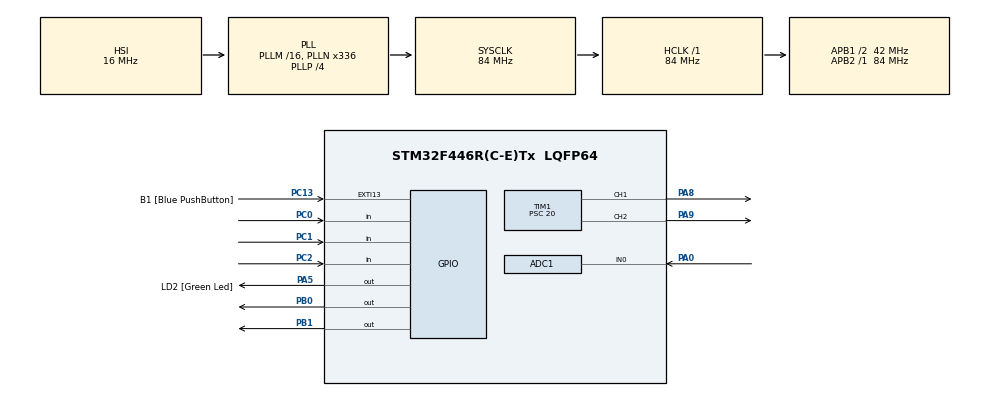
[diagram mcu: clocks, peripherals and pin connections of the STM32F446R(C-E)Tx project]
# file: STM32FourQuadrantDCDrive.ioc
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ADC1.Channel-0\#ChannelRegularConversion=ADC_CHANNEL_0
ADC1.ContinuousConvMode=ENABLE
ADC1.NbrOfConversionFlag=1
ADC1.Rank-0\#ChannelRegularConversion=1
ADC1.SamplingTime-0\#ChannelRegularConversion=ADC_SAMPLETIME_3CYCLES
ADC1.master=1
Mcu.Family=STM32F4
Mcu.Name=STM32F446R(C-E)Tx
Mcu.Package=LQFP64
NVIC.PriorityGroup=NVIC_PRIORITYGROUP_0
PA0-WKUP.Signal=ADCx_IN0
PA13.GPIO_Label=TMS
PA13.Signal=SYS_JTMS-SWDIO
PA14.GPIO_Label=TCK
PA14.Signal=SYS_JTCK-SWCLK
PA2.GPIO_Label=USART_TX
PA2.Signal=USART2_TX
PA3.GPIO_Label=USART_RX
PA3.Signal=USART2_RX
PA5.GPIO_Label=LD2 [Green Led]
PA5.Signal=GPIO_Output
PA8.Signal=S_TIM1_CH1
PA9.Signal=S_TIM1_CH2
PB0.PinState=GPIO_PIN_SET
PB0.Signal=GPIO_Output
PB1.PinState=GPIO_PIN_SET
PB1.Signal=GPIO_Output
PB3.GPIO_Label=SWO
PB3.Signal=SYS_JTDO-SWO
PC0.GPIO_PuPd=GPIO_PULLUP
PC0.Signal=GPIO_Input
PC1.GPIO_PuPd=GPIO_PULLUP
PC1.Signal=GPIO_Input
PC13.GPIO_Label=B1 [Blue PushButton]
PC13.GPIO_ModeDefaultEXTI=GPIO_MODE_IT_FALLING
PC13.Signal=GPXTI13
PC14-OSC32_IN.Signal=RCC_OSC32_IN
PC15-OSC32_OUT.Signal=RCC_OSC32_OUT
PC2.GPIO_PuPd=GPIO_PULLUP
PC2.Signal=GPIO_Input
PH0-OSC_IN.Signal=RCC_OSC_IN
PH1-OSC_OUT.Signal=RCC_OSC_OUT
ProjectManager.HeapSize=0x200
ProjectManager.StackSize=0x400
ProjectManager.TargetToolchain=STM32CubeIDE
RCC.AHBFreq_Value=84000000
RCC.APB1CLKDivider=RCC_HCLK_DIV2
RCC.APB1Freq_Value=42000000
RCC.APB1TimFreq_Value=84000000
RCC.APB2Freq_Value=84000000
RCC.APB2TimFreq_Value=84000000
RCC.CortexFreq_Value=84000000
RCC.FLatency-AdvancedSettings=FLASH_LATENCY_2
RCC.HCLKFreq_Value=84000000
RCC.HSE_VALUE=8000000
RCC.HSI_VALUE=16000000
RCC.LSE_VALUE=32768
RCC.PLLN=336
RCC.PLLP=RCC_PLLP_DIV4
RCC.SYSCLKFreq_VALUE=84000000
RCC.SYSCLKSource=RCC_SYSCLKSOURCE_PLLCLK
RCC.USBFreq_Value=168000000
RCC.VCOOutputFreq_Value=336000000
SH.ADCx_IN0.0=ADC1_IN0,IN0
SH.S_TIM1_CH1.0=TIM1_CH1,PWM Generation1 CH1
SH.S_TIM1_CH2.0=TIM1_CH2,PWM Generation2 CH2
TIM1.Channel-PWM\ Generation1\ CH1=TIM_CHANNEL_1
TIM1.Channel-PWM\ Generation2\ CH2=TIM_CHANNEL_2
TIM1.Period=4095
TIM1.Prescaler=20
VP_TIM1_VS_ClockSourceINT.Mode=Internal
board=NUCLEO-F446RE

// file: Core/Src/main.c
/* USER CODE BEGIN Header */
/**
 * @file    main.c
 * @brief   Main application for four-quadrant DC motor control
 *
 * This firmware implements:
 *  - Forward and reverse directional control
 *  - Speed control using a potentiometer
 *  - Toggle-based push button operation
 *  - Software dead-time and safety delay for switching protection
 *
 * Target MCU : STM32F446RE
 * Framework  : STM32 HAL
 */
/* USER CODE END Header */

#include "main.h"

/* USER CODE BEGIN Includes */
#include <stdbool.h>
/* USER CODE END Includes */

/* USER CODE BEGIN PTD */
/* Motor operating states */
typedef enum {
    STOP = 0,
    FORWARD,
    REVERSE
} Direction;
/* USER CODE END PTD */

/* USER CODE BEGIN PD */
/* Timing constants for safe motor operation */
#define DEADTIME_US      100
#define SAFETY_DELAY     500
#define DEBOUNCE_DELAY   200
/* USER CODE END PD */

/* Peripheral handles */
ADC_HandleTypeDef hadc1;
TIM_HandleTypeDef htim1;

/* USER CODE BEGIN PV */
/* Runtime state variables */
Direction currentDir = STOP;
bool isRunning = false;

/* Control variables */
uint32_t pwmVal = 0;
uint32_t lastDebounce = 0;
uint32_t filteredADC = 0;
/* USER CODE END PV */

/* Function prototypes */
void SystemClock_Config(void);
static void MX_GPIO_Init(void);
static void MX_ADC1_Init(void);
static void MX_TIM1_Init(void);

/* USER CODE BEGIN PFP */
/* Application-level function prototypes */
void delay_us(uint16_t us);
uint32_t readADC(void);
uint32_t readADC_Averaged(void);
void runForward(uint32_t pwm);
void runReverse(uint32_t pwm);
void stopMotor(void);
void applyBrake(void);
void loop_logic(void);
/* USER CODE END PFP */

/* USER CODE BEGIN 0 */

/**
 * @brief  Generates blocking delay in microseconds using DWT cycle counter
 * @param  us Delay duration in microseconds
 */
void delay_us(uint16_t us)
{
    uint32_t start = DWT->CYCCNT;
    uint32_t ticks = us * (HAL_RCC_GetHCLKFreq() / 1000000U);
    while ((DWT->CYCCNT - start) < ticks)
    {
    }
}

/**
 * @brief  Reads one fresh ADC sample from the potentiometer
 * @retval ADC value in the range 0 to 4095
 */
uint32_t readADC(void)
{
    HAL_ADC_Start(&hadc1);                         // Start fresh conversion
    HAL_ADC_PollForConversion(&hadc1, 10);
    return HAL_ADC_GetValue(&hadc1);              // 12-bit ADC result
}

/**
 * @brief  Averages multiple ADC samples for smoother speed control
 * @retval Averaged ADC value
 */
uint32_t readADC_Averaged(void)
{
    uint32_t sum = 0;

    for (int i = 0; i < 8; i++)
    {
        sum += readADC();
    }

    return (sum / 8);
}

/**
 * @brief  Drives the motor in forward direction
 * @param  pwm PWM duty value (0 to 4095)
 *
 * Switching state:
 *  - INAHI = PWM
 *  - INBHI = LOW
 *  - INALO = LOW
 *  - INBLO = HIGH
 */
void runForward(uint32_t pwm)
{
    if (pwm > 4095) pwm = 4095;

    __HAL_TIM_SET_COMPARE(&htim1, TIM_CHANNEL_2, 0);       // INBHI LOW
    HAL_GPIO_WritePin(GPIOB, GPIO_PIN_0, GPIO_PIN_RESET);  // INALO LOW

    __HAL_TIM_SET_COMPARE(&htim1, TIM_CHANNEL_1, pwm);     // INAHI PWM
    HAL_GPIO_WritePin(GPIOB, GPIO_PIN_1, GPIO_PIN_SET);    // INBLO HIGH
}

/**
 * @brief  Drives the motor in reverse direction
 * @param  pwm PWM duty value (0 to 4095)
 *
 * Switching state:
 *  - INAHI = LOW
 *  - INBHI = PWM
 *  - INALO = HIGH
 *  - INBLO = LOW
 */
void runReverse(uint32_t pwm)
{
    if (pwm > 4095) pwm = 4095;

    __HAL_TIM_SET_COMPARE(&htim1, TIM_CHANNEL_1, 0);       // INAHI LOW
    HAL_GPIO_WritePin(GPIOB, GPIO_PIN_1, GPIO_PIN_RESET);  // INBLO LOW

    __HAL_TIM_SET_COMPARE(&htim1, TIM_CHANNEL_2, pwm);     // INBHI PWM
    HAL_GPIO_WritePin(GPIOB, GPIO_PIN_0, GPIO_PIN_SET);    // INALO HIGH
}

/**
 * @brief  Turns OFF all bridge switches safely
 *
 * Used during:
 *  - Stop condition
 *  - Direction transition
 *  - Brake condition
 */
void stopMotor(void)
{
    __HAL_TIM_SET_COMPARE(&htim1, TIM_CHANNEL_1, 0);
    __HAL_TIM_SET_COMPARE(&htim1, TIM_CHANNEL_2, 0);

    HAL_GPIO_WritePin(GPIOB, GPIO_PIN_0, GPIO_PIN_RESET);
    HAL_GPIO_WritePin(GPIOB, GPIO_PIN_1, GPIO_PIN_RESET);

    delay_us(DEADTIME_US);
}

/**
 * @brief  Applies brake action
 *
 * Current implementation performs coast stop
 * by turning OFF all switches and holding for 500 ms.
 */
void applyBrake(void)
{
    stopMotor();
    HAL_Delay(500);
}

/**
 * @brief  Main application control logic
 *
 * Handles:
 *  - Potentiometer speed acquisition
 *  - Button debounce and toggle logic
 *  - Direction selection
 *  - Brake action
 *  - Motor output update
 */
void loop_logic(void)
{
    /* Read filtered speed reference */
    filteredADC = readADC_Averaged();
    pwmVal = filteredADC;

    /* Forward button toggle */
    if (!HAL_GPIO_ReadPin(GPIOC, GPIO_PIN_0) &&
        (HAL_GetTick() - lastDebounce > DEBOUNCE_DELAY))
    {
        lastDebounce = HAL_GetTick();

        if (currentDir != FORWARD)
        {
            stopMotor();
            HAL_Delay(SAFETY_DELAY);
            currentDir = FORWARD;
            isRunning = true;
        }
        else
        {
            currentDir = STOP;
            isRunning = false;
            stopMotor();
        }
    }

    /* Reverse button toggle */
    if (!HAL_GPIO_ReadPin(GPIOC, GPIO_PIN_1) &&
        (HAL_GetTick() - lastDebounce > DEBOUNCE_DELAY))
    {
        lastDebounce = HAL_GetTick();

        if (currentDir != REVERSE)
        {
            stopMotor();
            HAL_Delay(SAFETY_DELAY);
            currentDir = REVERSE;
            isRunning = true;
        }
        else
        {
            currentDir = STOP;
            isRunning = false;
            stopMotor();
        }
    }

    /* Brake button action */
    if (!HAL_GPIO_ReadPin(GPIOC, GPIO_PIN_2) &&
        (HAL_GetTick() - lastDebounce > DEBOUNCE_DELAY))
    {
        lastDebounce = HAL_GetTick();

        applyBrake();
        currentDir = STOP;
        isRunning = false;
    }

    /* Execute motor control state */
    if (isRunning)
    {
        if (currentDir == FORWARD)
            runForward(pwmVal);
        else if (currentDir == REVERSE)
            runReverse(pwmVal);
    }
    else
    {
        stopMotor();
    }
}

/* USER CODE END 0 */

/**
 * @brief  Main program entry point
 * @retval int
 */
int main(void)
{
    HAL_Init();
    SystemClock_Config();

    MX_GPIO_Init();
    MX_ADC1_Init();
    MX_TIM1_Init();

    /* USER CODE BEGIN 2 */

    /* Start PWM generation on both high-side channels */
    HAL_TIM_PWM_Start(&htim1, TIM_CHANNEL_1);
    HAL_TIM_PWM_Start(&htim1, TIM_CHANNEL_2);

    /* Start ADC peripheral */
    HAL_ADC_Start(&hadc1);

    /* Enable DWT cycle counter for microsecond timing */
    CoreDebug->DEMCR |= CoreDebug_DEMCR_TRCENA_Msk;
    DWT->CYCCNT = 0;
    DWT->CTRL |= DWT_CTRL_CYCCNTENA_Msk;

    /* Ensure safe bridge state at startup */
    stopMotor();

    /* USER CODE END 2 */

    while (1)
    {
        loop_logic();
    }
}

void SystemClock_Config(void)
{
    RCC_OscInitTypeDef RCC_OscInitStruct = {0};
    RCC_ClkInitTypeDef RCC_ClkInitStruct = {0};

    __HAL_RCC_PWR_CLK_ENABLE();
    __HAL_PWR_VOLTAGESCALING_CONFIG(PWR_REGULATOR_VOLTAGE_SCALE3);

    RCC_OscInitStruct.OscillatorType = RCC_OSCILLATORTYPE_HSI;
    RCC_OscInitStruct.HSIState = RCC_HSI_ON;
    RCC_OscInitStruct.HSICalibrationValue = RCC_HSICALIBRATION_DEFAULT;
    RCC_OscInitStruct.PLL.PLLState = RCC_PLL_ON;
    RCC_OscInitStruct.PLL.PLLSource = RCC_PLLSOURCE_HSI;
    RCC_OscInitStruct.PLL.PLLM = 16;
    RCC_OscInitStruct.PLL.PLLN = 336;
    RCC_OscInitStruct.PLL.PLLP = RCC_PLLP_DIV4;
    RCC_OscInitStruct.PLL.PLLQ = 2;
    RCC_OscInitStruct.PLL.PLLR = 2;

    if (HAL_RCC_OscConfig(&RCC_OscInitStruct) != HAL_OK)
    {
        Error_Handler();
    }

    RCC_ClkInitStruct.ClockType = RCC_CLOCKTYPE_HCLK | RCC_CLOCKTYPE_SYSCLK
                                | RCC_CLOCKTYPE_PCLK1 | RCC_CLOCKTYPE_PCLK2;
    RCC_ClkInitStruct.SYSCLKSource = RCC_SYSCLKSOURCE_PLLCLK;
    RCC_ClkInitStruct.AHBCLKDivider = RCC_SYSCLK_DIV1;
    RCC_ClkInitStruct.APB1CLKDivider = RCC_HCLK_DIV2;
    RCC_ClkInitStruct.APB2CLKDivider = RCC_HCLK_DIV1;

    if (HAL_RCC_ClockConfig(&RCC_ClkInitStruct, FLASH_LATENCY_2) != HAL_OK)
    {
        Error_Handler();
    }
}

/**
 * @brief  Initializes ADC1 for potentiometer input sampling
 * @retval None
 */
static void MX_ADC1_Init(void)
{
    ADC_ChannelConfTypeDef sConfig = {0};

    hadc1.Instance = ADC1;
    hadc1.Init.ClockPrescaler = ADC_CLOCK_SYNC_PCLK_DIV4;
    hadc1.Init.Resolution = ADC_RESOLUTION_12B;
    hadc1.Init.ScanConvMode = DISABLE;
    hadc1.Init.ContinuousConvMode = DISABLE;   // Manual conversion mode
    hadc1.Init.DiscontinuousConvMode = DISABLE;
    hadc1.Init.ExternalTrigConvEdge = ADC_EXTERNALTRIGCONVEDGE_NONE;
    hadc1.Init.ExternalTrigConv = ADC_SOFTWARE_START;
    hadc1.Init.DataAlign = ADC_DATAALIGN_RIGHT;
    hadc1.Init.NbrOfConversion = 1;
    hadc1.Init.DMAContinuousRequests = DISABLE;
    hadc1.Init.EOCSelection = ADC_EOC_SINGLE_CONV;

    if (HAL_ADC_Init(&hadc1) != HAL_OK)
    {
        Error_Handler();
    }

    sConfig.Channel = ADC_CHANNEL_0;
    sConfig.Rank = 1;
    sConfig.SamplingTime = ADC_SAMPLETIME_56CYCLES;   // Improved stability for potentiometer

    if (HAL_ADC_ConfigChannel(&hadc1, &sConfig) != HAL_OK)
    {
        Error_Handler();
    }
}

/**
 * @brief  Initializes TIM1 for PWM generation
 * @retval None
 */
static void MX_TIM1_Init(void)
{
    TIM_ClockConfigTypeDef sClockSourceConfig = {0};
    TIM_MasterConfigTypeDef sMasterConfig = {0};
    TIM_OC_InitTypeDef sConfigOC = {0};
    TIM_BreakDeadTimeConfigTypeDef sBreakDeadTimeConfig = {0};

    htim1.Instance = TIM1;
    htim1.Init.Prescaler = 20;
    htim1.Init.CounterMode = TIM_COUNTERMODE_UP;
    htim1.Init.Period = 4095;
    htim1.Init.ClockDivision = TIM_CLOCKDIVISION_DIV1;
    htim1.Init.RepetitionCounter = 0;
    htim1.Init.AutoReloadPreload = TIM_AUTORELOAD_PRELOAD_DISABLE;

    if (HAL_TIM_Base_Init(&htim1) != HAL_OK)
    {
        Error_Handler();
    }

    sClockSourceConfig.ClockSource = TIM_CLOCKSOURCE_INTERNAL;
    if (HAL_TIM_ConfigClockSource(&htim1, &sClockSourceConfig) != HAL_OK)
    {
        Error_Handler();
    }

    if (HAL_TIM_PWM_Init(&htim1) != HAL_OK)
    {
        Error_Handler();
    }

    sMasterConfig.MasterOutputTrigger = TIM_TRGO_RESET;
    sMasterConfig.MasterSlaveMode = TIM_MASTERSLAVEMODE_DISABLE;
    if (HAL_TIMEx_MasterConfigSynchronization(&htim1, &sMasterConfig) != HAL_OK)
    {
        Error_Handler();
    }

    sConfigOC.OCMode = TIM_OCMODE_PWM1;
    sConfigOC.Pulse = 0;
    sConfigOC.OCPolarity = TIM_OCPOLARITY_HIGH;
    sConfigOC.OCNPolarity = TIM_OCNPOLARITY_HIGH;
    sConfigOC.OCFastMode = TIM_OCFAST_DISABLE;
    sConfigOC.OCIdleState = TIM_OCIDLESTATE_RESET;
    sConfigOC.OCNIdleState = TIM_OCNIDLESTATE_RESET;

    if (HAL_TIM_PWM_ConfigChannel(&htim1, &sConfigOC, TIM_CHANNEL_1) != HAL_OK)
    {
        Error_Handler();
    }

    if (HAL_TIM_PWM_ConfigChannel(&htim1, &sConfigOC, TIM_CHANNEL_2) != HAL_OK)
    {
        Error_Handler();
    }

    sBreakDeadTimeConfig.OffStateRunMode = TIM_OSSR_DISABLE;
    sBreakDeadTimeConfig.OffStateIDLEMode = TIM_OSSI_DISABLE;
    sBreakDeadTimeConfig.LockLevel = TIM_LOCKLEVEL_OFF;
    sBreakDeadTimeConfig.DeadTime = 0;
    sBreakDeadTimeConfig.BreakState = TIM_BREAK_DISABLE;
    sBreakDeadTimeConfig.BreakPolarity = TIM_BREAKPOLARITY_HIGH;
    sBreakDeadTimeConfig.AutomaticOutput = TIM_AUTOMATICOUTPUT_DISABLE;

    if (HAL_TIMEx_ConfigBreakDeadTime(&htim1, &sBreakDeadTimeConfig) != HAL_OK)
    {
        Error_Handler();
    }

    HAL_TIM_MspPostInit(&htim1);
}

/**
 * @brief  Initializes GPIO pins for buttons, outputs, and status signals
 * @retval None
 */
static void MX_GPIO_Init(void)
{
    GPIO_InitTypeDef GPIO_InitStruct = {0};

    __HAL_RCC_GPIOC_CLK_ENABLE();
    __HAL_RCC_GPIOH_CLK_ENABLE();
    __HAL_RCC_GPIOA_CLK_ENABLE();
    __HAL_RCC_GPIOB_CLK_ENABLE();

    /* Safe default output state */
    HAL_GPIO_WritePin(LD2_GPIO_Port, LD2_Pin, GPIO_PIN_RESET);
    HAL_GPIO_WritePin(GPIOB, GPIO_PIN_0 | GPIO_PIN_1, GPIO_PIN_RESET);

    GPIO_InitStruct.Pin = B1_Pin;
    GPIO_InitStruct.Mode = GPIO_MODE_IT_FALLING;
    GPIO_InitStruct.Pull = GPIO_NOPULL;
    HAL_GPIO_Init(B1_GPIO_Port, &GPIO_InitStruct);

    /* User push-buttons */
    GPIO_InitStruct.Pin = GPIO_PIN_0 | GPIO_PIN_1 | GPIO_PIN_2;
    GPIO_InitStruct.Mode = GPIO_MODE_INPUT;
    GPIO_InitStruct.Pull = GPIO_PULLUP;
    HAL_GPIO_Init(GPIOC, &GPIO_InitStruct);

    /* USART2 pins generated by CubeMX */
    GPIO_InitStruct.Pin = USART_TX_Pin | USART_RX_Pin;
    GPIO_InitStruct.Mode = GPIO_MODE_AF_PP;
    GPIO_InitStruct.Pull = GPIO_NOPULL;
    GPIO_InitStruct.Speed = GPIO_SPEED_FREQ_VERY_HIGH;
    GPIO_InitStruct.Alternate = GPIO_AF7_USART2;
    HAL_GPIO_Init(GPIOA, &GPIO_InitStruct);

    /* On-board LED */
    GPIO_InitStruct.Pin = LD2_Pin;
    GPIO_InitStruct.Mode = GPIO_MODE_OUTPUT_PP;
    GPIO_InitStruct.Pull = GPIO_NOPULL;
    GPIO_InitStruct.Speed = GPIO_SPEED_FREQ_LOW;
    HAL_GPIO_Init(LD2_GPIO_Port, &GPIO_InitStruct);

    /* Low-side H-bridge control outputs */
    GPIO_InitStruct.Pin = GPIO_PIN_0 | GPIO_PIN_1;
    GPIO_InitStruct.Mode = GPIO_MODE_OUTPUT_PP;
    GPIO_InitStruct.Pull = GPIO_NOPULL;
    GPIO_InitStruct.Speed = GPIO_SPEED_FREQ_LOW;
    HAL_GPIO_Init(GPIOB, &GPIO_InitStruct);
}

/**
 * @brief  Handles unrecoverable system errors
 *
 * All motor drive outputs are forced OFF before entering fail-safe loop.
 */
void Error_Handler(void)
{
    __disable_irq();

    __HAL_TIM_SET_COMPARE(&htim1, TIM_CHANNEL_1, 0);
    __HAL_TIM_SET_COMPARE(&htim1, TIM_CHANNEL_2, 0);
    HAL_GPIO_WritePin(GPIOB, GPIO_PIN_0, GPIO_PIN_RESET);
    HAL_GPIO_WritePin(GPIOB, GPIO_PIN_1, GPIO_PIN_RESET);

    while (1)
    {
    }
}
